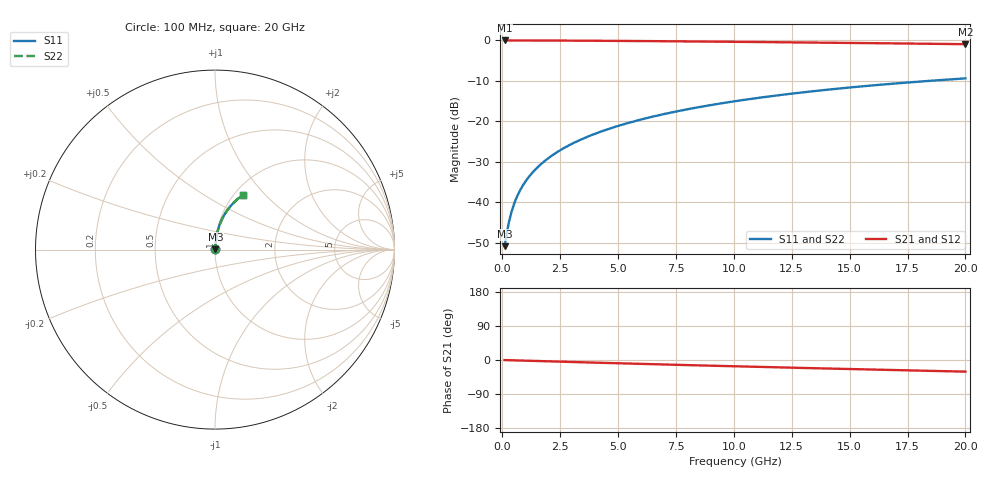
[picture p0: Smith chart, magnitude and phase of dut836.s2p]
! Touchstone file exported from HFSS 2024.1.0
!  File:  C:/UserFiles/LocalFiles/RDL_TSV_Batchsim/temp_RDL_bottom_836_1779863476.aedt
!  Generated:  02:33:49 PM May 27, 2026
!  Design:  RDL_bottom
!  Project:  temp_RDL_bottom_836_1779863476
!  Setup:  Setup1
!  Solution:  Sweep
! Variables:
!  dtsv = 10.80580581um
!  hbump = 3um
!  htsv = 72.61um
!  ldown = 397.15um
!  lrdl = 100um
!  p = 40
!  p1 = 48.09um
!  rhole = 1um
!  t = 450um
!  tdown = 4.31um
!  trdl = 3.915915916um
!  wdown = 15.58um
!  wrdl = 20um
# GHz S MA R 50.000000
! Terminal data exported
! Port[1] = RDL1_T1
! Port[2] = RDL1_T2
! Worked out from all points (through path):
!   200 points, 100 MHz to 20 GHz, reference 50 ohm
!   highest |S21| = -0.02 dB at 100 MHz (marker M1); lowest = -0.9 dB at 20 GHz (marker M2)
!   group delay of S21, straight-line fit = 4.25 ps
!   lowest |S11| = -50.8 dB at 100 MHz (marker M3), VSWR 1.01, Z = 50.2 + j0.185 ohm
!   |S11| at or under -10 dB: start of sweep to 18.42 GHz
!   |S22| runs from -50.8 to -9.4 dB; largest |S21 - S12| = 3.6e-15
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0.1  0.002886 39.7  0.9978 -0.2  0.9978 -0.2  0.002886 39.7
! Gamma 0 0 0 0
! Port Impedance 50 0 50 0
0.2  0.004314 58.6  0.9977 -0.4  0.9977 -0.4  0.004314 58.6
0.3  0.005966 67.4  0.9976 -0.5  0.9976 -0.5  0.005967 67.4
0.4  0.007687 72.2  0.9975 -0.7  0.9975 -0.7  0.007687 72.2
0.5  0.009429 75.2  0.9974 -0.9  0.9974 -0.9  0.009429 75.1
0.6  0.01117 77.1  0.9973 -1.1  0.9973 -1.1  0.01117 77.1
0.8  0.01465 79.5  0.9971 -1.4  0.9971 -1.4  0.01465 79.5
1.1  0.01984 81.4  0.9968 -2.0  0.9968 -2.0  0.01984 81.4
1.5  0.02674 82.7  0.9962 -2.7  0.9962 -2.7  0.02674 82.7
1.8  0.03192 83.2  0.9957 -3.2  0.9957 -3.2  0.03192 83.2
2.1  0.03711 83.5  0.995 -3.7  0.995 -3.7  0.03711 83.5
2.7  0.04753 83.7  0.9936 -4.7  0.9936 -4.7  0.04753 83.7
3.5  0.06151 83.6  0.9912 -6.1  0.9912 -6.1  0.06151 83.6
4.2  0.07381 83.2  0.9887 -7.3  0.9887 -7.3  0.07381 83.2
5  0.08794 82.5  0.9855 -8.6  0.9855 -8.6  0.08794 82.6
5.9  0.1039 81.7  0.9816 -10.1  0.9816 -10.1  0.1039 81.7
6.8  0.1199 80.8  0.9773 -11.6  0.9773 -11.6  0.1199 80.8
8.3  0.1466 79.0  0.9696 -13.9  0.9696 -13.9  0.1466 79.0
10.1  0.1785 76.7  0.9597 -16.7  0.9597 -16.7  0.1785 76.7
13.4  0.2355 72.2  0.9402 -21.6  0.9402 -21.6  0.2355 72.2
16.7  0.2895 67.6  0.9194 -26.2  0.9194 -26.2  0.2896 67.6
20  0.3397 63.0  0.8976 -30.7  0.8976 -30.7  0.3397 63.1
